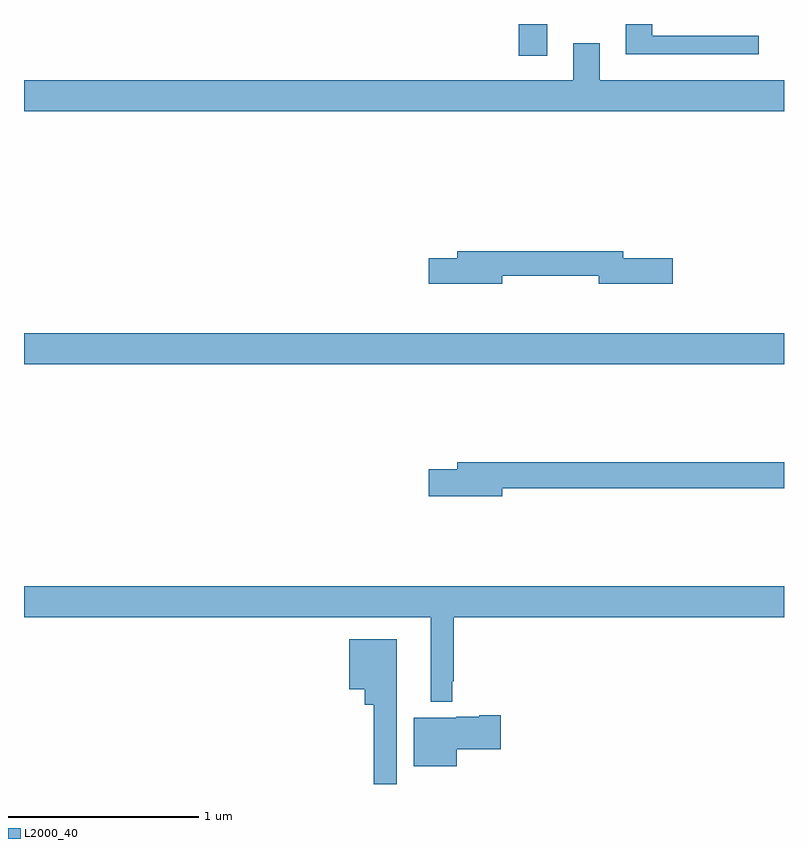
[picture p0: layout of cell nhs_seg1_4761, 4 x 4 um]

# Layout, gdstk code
import gdstk
lib = gdstk.Library(unit=1e-6, precision=1e-09)
def R(c, l, rs):  # rectangles x0, y0, x1, y1
    for r in rs: c.add(gdstk.rectangle(r[:2], r[2:], *l))
def P(c, l, *ps):  # polygons
    for p in ps: c.add(gdstk.Polygon(p, *l))
L2000_40 = (2000, 40)

nhs_seg1_4761 = lib.new_cell('nhs_seg1_4761')
R(nhs_seg1_4761, L2000_40, [(369,542.408,373,542.572), (371.603,544.032,371.755,544.199)])
P(nhs_seg1_4761, L2000_40, [(372.868,544.137),(372.307,544.137),(372.307,544.199),(372.167,544.199),(372.167,544.04),(372.868,544.04)],
  [(373,543.904),(372.031,543.904),(372.031,544.099),(371.891,544.099),(371.891,543.904),(369,543.904),(369,543.74),(373,543.74)],
  [(371.518,542.874),(372.026,542.874),(372.026,542.831),(372.415,542.831),(372.415,542.966),(372.154,542.966),(372.154,543.002),(371.279,543.002),(371.279,542.966),(371.13,542.966),(371.13,542.831),(371.518,542.831)],
  [(371.518,541.756),(373,541.756),(373,541.892),(371.279,541.892),(371.279,541.856),(371.13,541.856),(371.13,541.714),(371.518,541.714)],
  [(371.255,540.739),(371.263,540.739),(371.263,541.076),(373,541.076),(373,541.24),(369,541.24),(369,541.076),(371.141,541.076),(371.141,540.632),(371.255,540.632)],
  [(370.963,540.961),(370.712,540.961),(370.712,540.698),(370.793,540.698),(370.793,540.617),(370.842,540.617),(370.842,540.199),(370.963,540.199)],
  [(371.278,540.382),(371.509,540.382),(371.509,540.56),(371.396,540.56),(371.396,540.553),(371.274,540.553),(371.274,540.547),(371.051,540.547),(371.051,540.293),(371.278,540.293)])

lib.write_gds('nhs_seg1_4761.gds')
